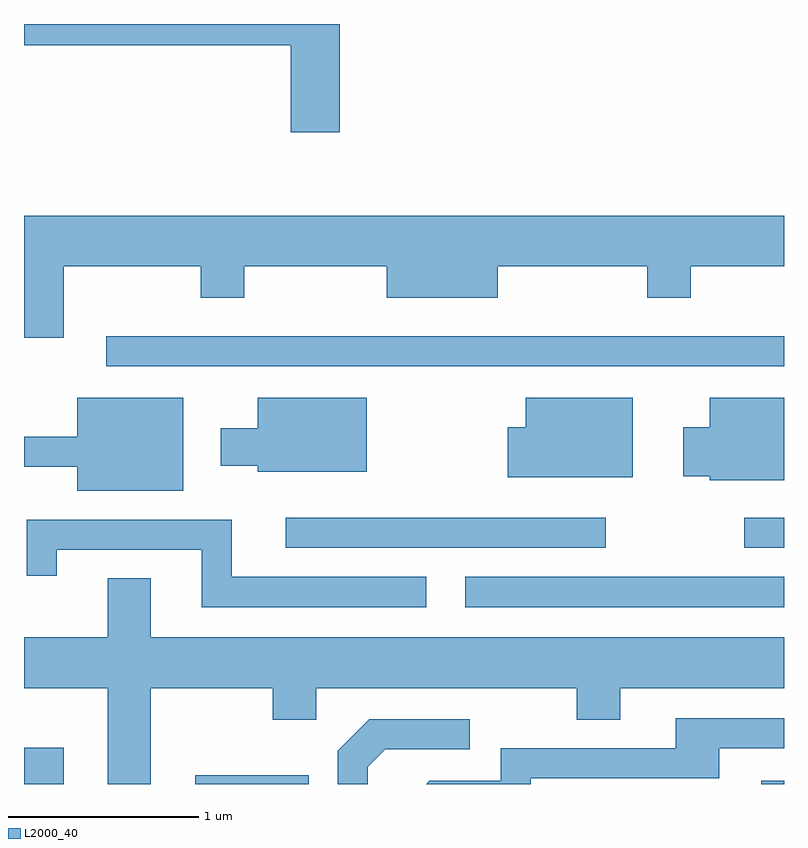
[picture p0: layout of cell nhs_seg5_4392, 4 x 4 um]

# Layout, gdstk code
import gdstk
lib = gdstk.Library(unit=1e-6, precision=1e-09)
def R(c, l, rs):  # rectangles x0, y0, x1, y1
    for r in rs: c.add(gdstk.rectangle(r[:2], r[2:], *l))
def P(c, l, *ps):  # polygons
    for p in ps: c.add(gdstk.Polygon(p, *l))
L2000_40 = (2000, 40)

nhs_seg5_4392 = lib.new_cell('nhs_seg5_4392')
R(nhs_seg5_4392, L2000_40, [(315.611,1454.072,315.819,1454.264), (316.511,1454.072,317.109,1454.119), (319.491,1454.072,319.611,1454.089), (317.933,1455.001,319.611,1455.164), (316.988,1455.316,318.673,1455.474), (319.403,1455.316,319.611,1455.474), (316.043,1456.271,319.611,1456.429)])
P(nhs_seg5_4392, L2000_40, [(317.274,1458.072),(315.611,1458.072),(315.611,1457.961),(317.016,1457.961),(317.016,1457.501),(317.274,1457.501)],
  [(315.819,1456.796),(316.541,1456.796),(316.541,1456.631),(316.769,1456.631),(316.769,1456.796),(317.521,1456.796),(317.521,1456.631),(318.104,1456.631),(318.104,1456.796),(318.891,1456.796),(318.891,1456.631),(319.119,1456.631),(319.119,1456.796),(319.611,1456.796),(319.611,1457.064),(315.611,1457.064),(315.611,1456.421),(315.819,1456.421)],
  [(316.449,1456.104),(315.891,1456.104),(315.891,1455.899),(315.611,1455.899),(315.611,1455.741),(315.891,1455.741),(315.891,1455.616),(316.449,1455.616)],
  [(319.611,1456.104),(319.221,1456.104),(319.221,1455.949),(319.081,1455.949),(319.081,1455.691),(319.221,1455.691),(319.221,1455.671),(319.611,1455.671)],
  [(318.814,1456.104),(318.251,1456.104),(318.251,1455.949),(318.156,1455.949),(318.156,1455.686),(318.814,1455.686)],
  [(317.414,1456.104),(316.841,1456.104),(316.841,1455.944),(316.646,1455.944),(316.646,1455.746),(316.841,1455.746),(316.841,1455.716),(317.414,1455.716)],
  [(317.728,1455.164),(316.704,1455.164),(316.704,1455.464),(315.626,1455.464),(315.626,1455.168),(315.784,1455.168),(315.784,1455.306),(316.546,1455.306),(316.546,1455.001),(317.728,1455.001)],
  [(316.279,1454.576),(316.921,1454.576),(316.921,1454.411),(317.149,1454.411),(317.149,1454.576),(318.521,1454.576),(318.521,1454.411),(318.749,1454.411),(318.749,1454.576),(319.611,1454.576),(319.611,1454.844),(316.279,1454.844),(316.279,1455.154),(316.051,1455.154),(316.051,1454.844),(315.611,1454.844),(315.611,1454.576),(316.051,1454.576),(316.051,1454.072),(316.279,1454.072)],
  [(318.279,1454.101),(319.269,1454.101),(319.269,1454.261),(319.611,1454.261),(319.611,1454.419),(319.041,1454.419),(319.041,1454.259),(318.121,1454.259),(318.121,1454.089),(317.744,1454.089),(317.727,1454.072),(318.279,1454.072)],
  [(317.419,1454.164),(317.512,1454.256),(317.958,1454.256),(317.958,1454.414),(317.429,1454.414),(317.261,1454.247),(317.261,1454.072),(317.419,1454.072)])

lib.write_gds('nhs_seg5_4392.gds')
